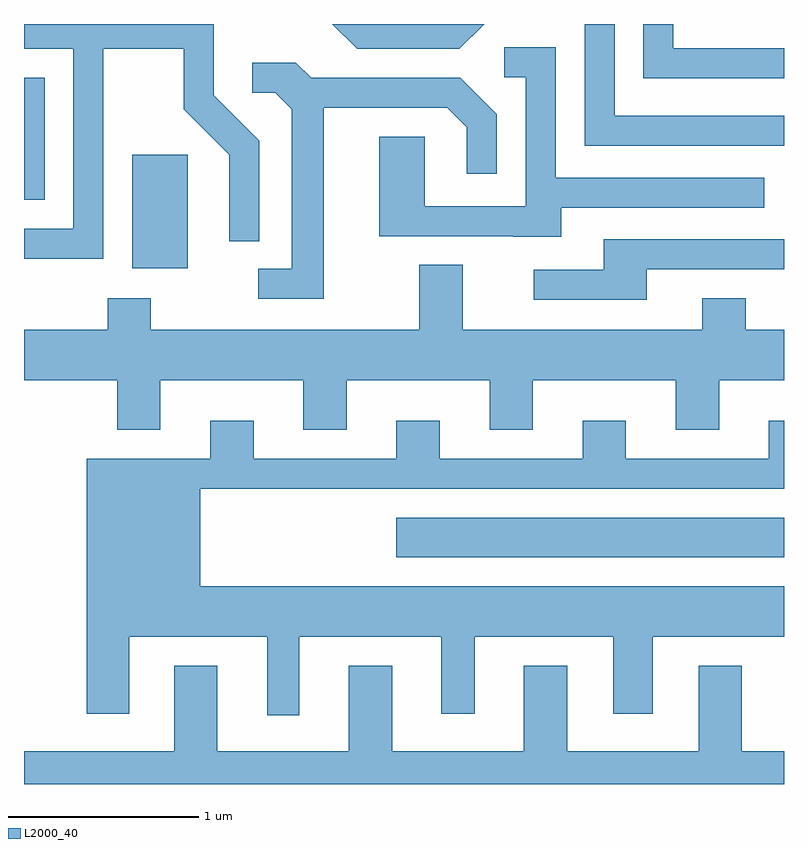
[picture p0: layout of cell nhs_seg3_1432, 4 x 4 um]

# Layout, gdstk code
import gdstk
lib = gdstk.Library(unit=1e-6, precision=1e-09)
def R(c, l, rs):  # rectangles x0, y0, x1, y1
    for r in rs: c.add(gdstk.rectangle(r[:2], r[2:], *l))
def P(c, l, *ps):  # polygons
    for p in ps: c.add(gdstk.Polygon(p, *l))
L2000_40 = (2000, 40)

nhs_seg3_1432 = lib.new_cell('nhs_seg3_1432')
R(nhs_seg3_1432, L2000_40, [(229.571,1125.086,231.611,1125.294), (228.181,1126.606,228.474,1127.204), (227.611,1126.966,227.719,1127.609)])
P(nhs_seg3_1432, L2000_40, [(231.611,1127.409),(230.719,1127.409),(230.719,1127.892),(230.561,1127.892),(230.561,1127.251),(231.611,1127.251)],
  [(230.033,1127.892),(229.233,1127.892),(229.364,1127.761),(229.902,1127.761)],
  [(228.029,1127.761),(228.451,1127.761),(228.451,1127.444),(228.691,1127.204),(228.691,1126.748),(228.849,1126.748),(228.849,1127.277),(228.609,1127.517),(228.609,1127.892),(227.611,1127.892),(227.611,1127.761),(227.871,1127.761),(227.871,1126.814),(227.611,1126.814),(227.611,1126.656),(228.029,1126.656)],
  [(231.611,1127.764),(231.029,1127.764),(231.029,1127.892),(230.871,1127.892),(230.871,1127.606),(231.611,1127.606)],
  [(230.439,1126.926),(231.508,1126.926),(231.508,1127.084),(230.409,1127.084),(230.409,1127.769),(230.138,1127.769),(230.138,1127.611),(230.251,1127.611),(230.251,1126.934),(229.719,1126.934),(229.719,1127.299),(229.481,1127.299),(229.481,1126.776),(230.185,1126.776),(230.185,1126.771),(230.439,1126.771)],
  [(229.189,1127.451),(229.839,1127.451),(229.941,1127.349),(229.941,1127.103),(230.099,1127.103),(230.099,1127.417),(229.907,1127.609),(229.122,1127.609),(229.042,1127.689),(228.813,1127.689),(228.813,1127.531),(228.934,1127.531),(229.021,1127.444),(229.021,1126.604),(228.843,1126.604),(228.843,1126.446),(229.189,1126.446)],
  [(230.889,1126.601),(231.611,1126.601),(231.611,1126.759),(230.661,1126.759),(230.661,1126.599),(230.293,1126.599),(230.293,1126.441),(230.889,1126.441)],
  [(228.329,1126.016),(229.081,1126.016),(229.081,1125.756),(229.309,1125.756),(229.309,1126.016),(230.061,1126.016),(230.061,1125.756),(230.289,1125.756),(230.289,1126.016),(231.041,1126.016),(231.041,1125.756),(231.269,1125.756),(231.269,1126.016),(231.611,1126.016),(231.611,1126.284),(231.409,1126.284),(231.409,1126.449),(231.181,1126.449),(231.181,1126.284),(229.919,1126.284),(229.919,1126.624),(229.691,1126.624),(229.691,1126.284),(228.279,1126.284),(228.279,1126.449),(228.051,1126.449),(228.051,1126.284),(227.611,1126.284),(227.611,1126.016),(228.101,1126.016),(228.101,1125.756),(228.329,1125.756)],
  [(229.059,1124.666),(229.806,1124.666),(229.806,1124.261),(229.984,1124.261),(229.984,1124.666),(230.711,1124.666),(230.711,1124.261),(230.919,1124.261),(230.919,1124.666),(231.611,1124.666),(231.611,1124.934),(228.539,1124.934),(228.539,1125.446),(231.611,1125.446),(231.611,1125.804),(231.531,1125.804),(231.531,1125.604),(230.779,1125.604),(230.779,1125.804),(230.551,1125.804),(230.551,1125.604),(229.799,1125.604),(229.799,1125.804),(229.571,1125.804),(229.571,1125.604),(228.819,1125.604),(228.819,1125.804),(228.591,1125.804),(228.591,1125.604),(227.941,1125.604),(227.941,1124.261),(228.164,1124.261),(228.164,1124.666),(228.891,1124.666),(228.891,1124.253),(229.059,1124.253)],
  [(231.611,1124.064),(231.389,1124.064),(231.389,1124.514),(231.161,1124.514),(231.161,1124.064),(230.469,1124.064),(230.469,1124.514),(230.241,1124.514),(230.241,1124.064),(229.549,1124.064),(229.549,1124.514),(229.321,1124.514),(229.321,1124.064),(228.629,1124.064),(228.629,1124.514),(228.401,1124.514),(228.401,1124.064),(227.611,1124.064),(227.611,1123.892),(231.611,1123.892)])

lib.write_gds('nhs_seg3_1432.gds')
